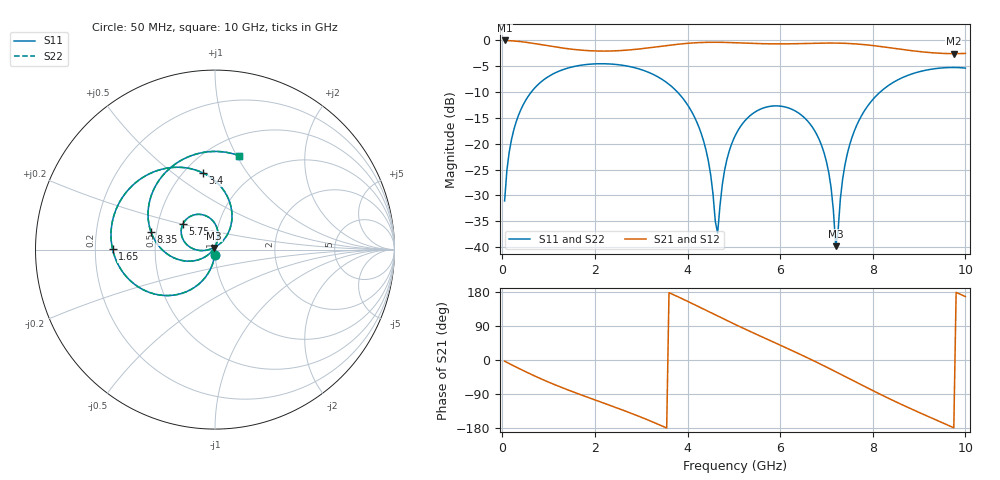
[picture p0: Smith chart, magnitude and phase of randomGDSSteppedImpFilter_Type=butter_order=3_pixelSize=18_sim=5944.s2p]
! freq	dB(S11)	phase(S11)	dB(S12)	phase(S12)
!  dB(S21)	phase(S21)	dB(S22)	phase(S22)
!S-par simulation data
#  GHz  S  DB  R 50
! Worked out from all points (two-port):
!   200 points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, 50 MHz to 10 GHz, reference 50 ohm
!   highest |S21| = -0.01 dB at 50 MHz (marker M1); lowest = -2.6 dB at 9.75 GHz (marker M2)
!   |S21| within 3 dB of the highest: start of sweep to end of sweep
!   lowest |S11| = -39.8 dB at 7.2 GHz (marker M3), VSWR 1.02, Z = 49.5 + j0.876 ohm
!   |S11| at or under -10 dB: start of sweep to 626.4 MHz; 3.782 GHz to 8.159 GHz (4.377 GHz wide, 73.3 % of centre)
!   |S22| runs from -39.9 to -4.5 dB; largest |S21 - S12| = 0
!   S11 on the Smith chart (normalised r, x): 50 MHz: 1.00, -0.06; 1.65 GHz: 0.27, +0.00; 3.4 GHz: 0.61, +0.65; 5.75 GHz: 0.67, +0.20; 8.35 GHz: 0.47, +0.11; 10 GHz: 0.69, +1.02
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0.05  -31.07 -93.2  -0.01 -3.2  -0.01 -3.2  -31.07 -93.2
0.2  -19.14 -102.9  -0.07 -12.6  -0.07 -12.6  -19.14 -102.9
0.45  -12.48 -118.3  -0.29 -27.8  -0.29 -27.8  -12.48 -118.3
1.65  -4.87 179.9  -1.84 -89.7  -1.84 -89.7  -4.87 179.8
1.75  -4.74 175.4  -1.92 -94.2  -1.92 -94.2  -4.74 175.3
2.7  -4.97 133.2  -1.87 -136.7  -1.87 -136.7  -4.97 133.1
3.4  -7.26 99.2  -1.17 -171.4  -1.17 -171.4  -7.26 99.1
4.25  -16.89 54.4  -0.42 140.1  -0.42 140.1  -16.89 54.3
4.45  -23.36 48.0  -0.36 128.1  -0.36 128.1  -23.37 47.7
4.65  -37.30 135.6  -0.36 116.1  -0.36 116.1  -37.52 136.0
4.8  -25.15 -175.5  -0.38 107.2  -0.38 107.2  -25.16 -175.1
5.05  -18.07 177.3  -0.45 92.6  -0.45 92.6  -18.07 177.4
5.75  -12.81 141.3  -0.66 53.2  -0.66 53.2  -12.81 141.3
6.7  -16.85 89.9  -0.56 -0.7  -0.56 -0.7  -16.85 89.9
7.05  -25.61 74.7  -0.51 -21.7  -0.51 -21.7  -25.61 74.7
7.2  -39.83 119.8  -0.51 -31.0  -0.51 -31.0  -39.88 119.7
7.35  -26.79 -143.0  -0.54 -40.3  -0.54 -40.3  -26.79 -142.9
7.55  -18.81 -149.3  -0.63 -52.8  -0.63 -52.8  -18.81 -149.2
8.35  -8.65 164.7  -1.40 -101.7  -1.40 -101.7  -8.65 164.8
9.05  -5.96 125.9  -2.20 -141.2  -2.20 -141.2  -5.96 125.9
9.75  -5.24 88.9  -2.56 -178.9  -2.56 -178.9  -5.24 88.9
10  -5.36 75.5  -2.52 167.3  -2.52 167.3  -5.36 75.6
